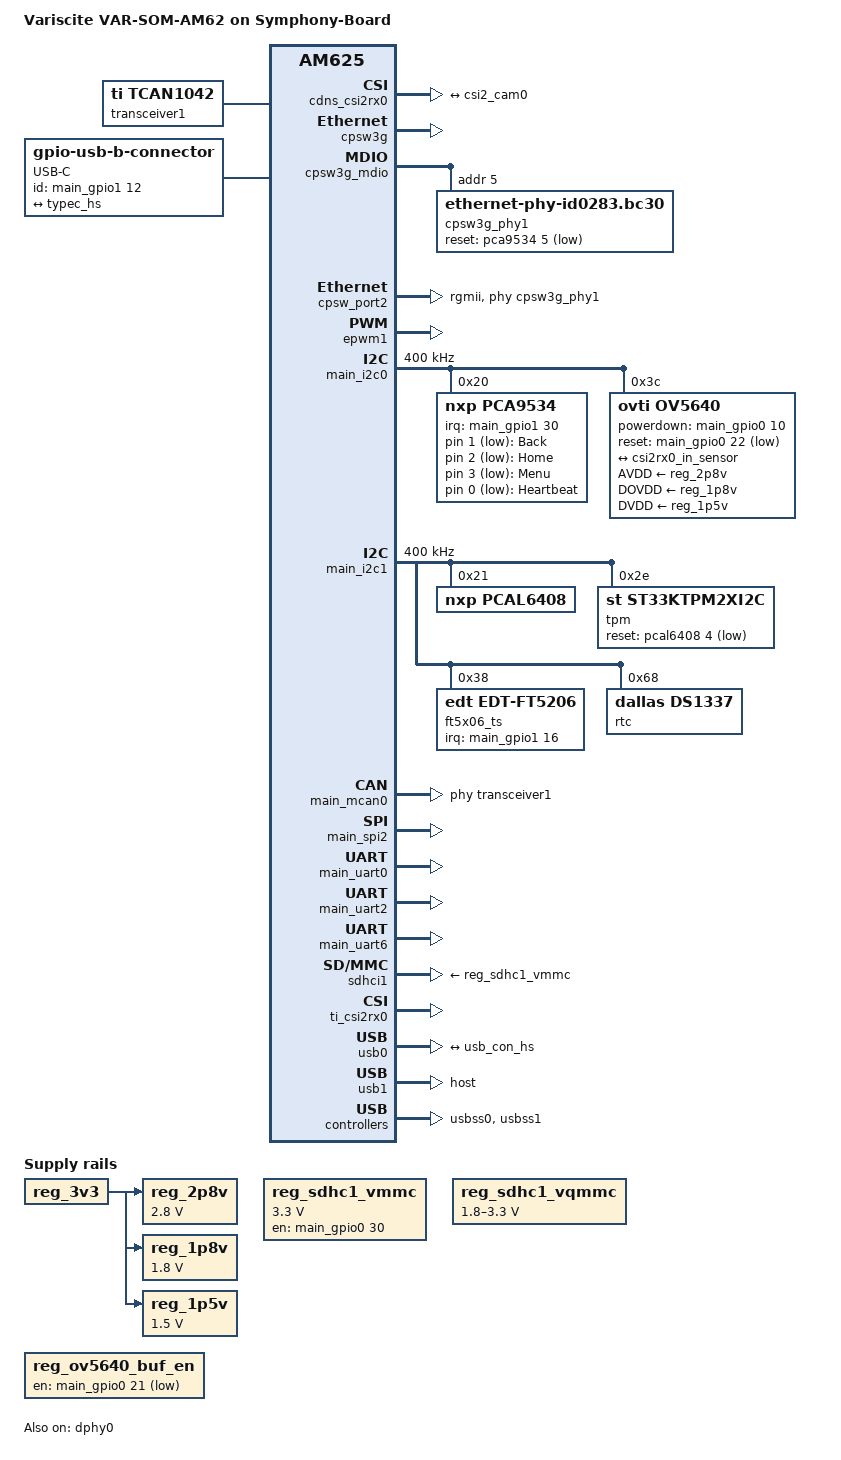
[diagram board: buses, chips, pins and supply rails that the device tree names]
// SPDX-License-Identifier: GPL-2.0
/*
 * Variscite Symphony carrier board for VAR-SOM-AM62
 *
 * Link: https://www.variscite.it/product/single-board-computers/symphony-board/
 *
 * Copyright (C) 2026 Variscite Ltd. - https://www.variscite.com/
 * Copyright (C) 2026 Stefano Radaelli <stefano.r@variscite.com>
 *
 */

/dts-v1/;

#include "k3-am625-var-som.dtsi"

/ {
	model = "Variscite VAR-SOM-AM62 on Symphony-Board";
	compatible = "variscite,var-som-am62-symphony", "variscite,var-som-am62", "ti,am625";

	aliases {
		ethernet0 = &cpsw_port1;
		ethernet1 = &cpsw_port2;
		mmc0 = &sdhci0;
		mmc1 = &sdhci1;
		mmc2 = &sdhci2;
		serial0 = &main_uart0;
		serial2 = &main_uart2;
		serial5 = &main_uart5;
		serial6 = &main_uart6;
		spi5 = &main_spi2;
		usb0 = &usb0;
		usb1 = &usb1;
	};

	chosen {
		stdout-path = "serial0:115200n8";
	};

	clk_ov5640_fixed: clock-24000000 {
		#clock-cells = <0>;
		compatible = "fixed-clock";
		clock-frequency = <24000000>;
	};

	gpio-keys {
		compatible = "gpio-keys";

		button-back {
			label = "Back";
			linux,code = <KEY_BACK>;
			gpios = <&pca9534 1 GPIO_ACTIVE_LOW>;
		};

		button-home {
			label = "Home";
			linux,code = <KEY_HOME>;
			gpios = <&pca9534 2 GPIO_ACTIVE_LOW>;
		};

		button-menu {
			label = "Menu";
			linux,code = <KEY_MENU>;
			gpios = <&pca9534 3 GPIO_ACTIVE_LOW>;
		};
	};

	gpio-leds {
		compatible = "gpio-leds";

		led-heartbeat {
			label = "Heartbeat";
			linux,default-trigger = "heartbeat";
			gpios = <&pca9534 0 GPIO_ACTIVE_LOW>;
		};
	};

	reg_2p8v: regulator-2p8v {
		compatible = "regulator-fixed";
		regulator-name = "2P8V";
		regulator-min-microvolt = <2800000>;
		regulator-max-microvolt = <2800000>;
		vin-supply = <&reg_3v3>;
		regulator-always-on;
	};

	reg_1p8v: regulator-1p8v {
		compatible = "regulator-fixed";
		regulator-name = "1P8V";
		regulator-min-microvolt = <1800000>;
		regulator-max-microvolt = <1800000>;
		vin-supply = <&reg_3v3>;
		regulator-always-on;
	};

	reg_1p5v: regulator-1p5v {
		compatible = "regulator-fixed";
		regulator-name = "1P5V";
		regulator-min-microvolt = <1500000>;
		regulator-max-microvolt = <1500000>;
		vin-supply = <&reg_3v3>;
		regulator-always-on;
	};

	reg_sdhc1_vmmc: regulator-sdhc1 {
		compatible = "regulator-fixed";
		regulator-name = "+V3.3_SD";
		pinctrl-names = "default";
		pinctrl-0 = <&pinctrl_sd1_vmmc>;
		regulator-min-microvolt = <3300000>;
		regulator-max-microvolt = <3300000>;
		regulator-boot-on;
		enable-active-high;
		gpios = <&main_gpio0 30 GPIO_ACTIVE_HIGH>;
		bootph-all;
	};

	reg_sdhc1_vqmmc: regulator-sdhci1-vqmmc {
		compatible = "regulator-gpio";
		regulator-name = "+V3.3_SD_VQMMC";
		pinctrl-names = "default";
		pinctrl-0 = <&pinctrl_sd1_vqmmc>;
		regulator-min-microvolt = <1800000>;
		regulator-max-microvolt = <3300000>;
		regulator-boot-on;
		gpios = <&main_gpio0 56 GPIO_ACTIVE_HIGH>;
		states = <1800000 0x0>,
			 <3300000 0x1>;
		bootph-all;
	};

	reg_ov5640_buf_en: regulator-camera-buf-en {
		compatible = "regulator-fixed";
		regulator-name = "ov5640_buf_en";
		pinctrl-names = "default";
		pinctrl-0 = <&pinctrl_ov5640_buf>;
		gpios = <&main_gpio0 21 GPIO_ACTIVE_HIGH>;
		regulator-always-on;
		regulator-boot-on;
	};

	transceiver1: can-phy {
		compatible = "ti,tcan1042";
		#phy-cells = <0>;
		max-bitrate = <5000000>;
	};

	connector {
		compatible = "gpio-usb-b-connector", "usb-b-connector";
		pinctrl-names = "default";
		pinctrl-0 = <&pinctrl_extcon>;
		label = "USB-C";
		id-gpios = <&main_gpio1 12 GPIO_ACTIVE_HIGH>;
		status = "okay";

		port {
			usb_con_hs: endpoint {
				remote-endpoint = <&typec_hs>;
			};
		};
	};
};

&cdns_csi2rx0 {
	ports {
		#address-cells = <1>;
		#size-cells = <0>;

		csi0_port0: port@0 {
			reg = <0>;
			status = "okay";

			csi2rx0_in_sensor: endpoint {
				remote-endpoint = <&csi2_cam0>;
				bus-type = <4>; /* CSI2 DPHY. */
				clock-lanes = <0>;
				data-lanes = <1 2>;
			};
		};
	};
};

&cpsw3g {
	pinctrl-names = "default";
	pinctrl-0 = <&pinctrl_rgmii1>,
		    <&pinctrl_rgmii2>;
	status = "okay";

	cpts@3d000 {
		/* MAP HW3_TS_PUSH to GENF1 */
		ti,pps = <2 1>;
	};
};

&cpsw3g_mdio {
	pinctrl-names = "default";
	pinctrl-0 = <&pinctrl_mdio1>;
	status = "okay";

	cpsw3g_phy1: ethernet-phy@5 {
		compatible = "ethernet-phy-id0283.bc30";
		reg = <5>;
		reset-gpios = <&pca9534 5 GPIO_ACTIVE_LOW>;
		reset-assert-us = <10000>;
		reset-deassert-us = <100000>;
	};
};

&cpsw_port2 {
	/*
	 * The required RGMII TX and RX 2ns delays are implemented directly
	 * in hardware via passive delay elements on the Symphony PCB.
	 * No delay configuration is needed in software via PHY driver.
	 */
	phy-mode = "rgmii";
	phy-handle = <&cpsw3g_phy1>;
	status = "okay";
};

&dphy0 {
	status = "okay";
};

&epwm1 {
	status = "okay";
	pinctrl-names = "default";
	pinctrl-0 = <&pinctrl_epwm1>;
};

&main_i2c0 {
	pinctrl-names = "default";
	pinctrl-0 = <&pinctrl_i2c0>;
	clock-frequency = <400000>;
	status = "okay";

	/* GPIO expander */
	pca9534: gpio@20 {
		compatible = "nxp,pca9534";
		reg = <0x20>;
		pinctrl-names = "default";
		pinctrl-0 = <&pinctrl_pca9534>;
		#gpio-cells = <2>;
		gpio-controller;
		interrupt-controller;
		#interrupt-cells = <2>;
		interrupt-parent = <&main_gpio1>;
		interrupts = <30 IRQ_TYPE_LEVEL_LOW>;

		usb3-sel-hog {
			gpio-hog;
			gpios = <4 0>;
			output-low;
			line-name = "usb3_sel";
		};

		eth-som-vselect-hog {
			gpio-hog;
			gpios = <6 0>;
			output-low;
			line-name = "eth-vselect";
		};

		eth-mdio-enable-hog {
			gpio-hog;
			gpios = <7 0>;
			output-high;
			line-name = "eth-mdio-enable";
		};
	};

	ov5640: camera@3c {
		compatible = "ovti,ov5640";
		reg = <0x3c>;
		clocks = <&clk_ov5640_fixed>;
		clock-names = "xclk";
		AVDD-supply = <&reg_2p8v>;
		DOVDD-supply = <&reg_1p8v>;
		DVDD-supply = <&reg_1p5v>;
		powerdown-gpios = <&main_gpio0 10 GPIO_ACTIVE_HIGH>;
		reset-gpios = <&main_gpio0 22 GPIO_ACTIVE_LOW>;
		pinctrl-names = "default";
		pinctrl-0 = <&pinctrl_ov5640>;

		port {
			csi2_cam0: endpoint {
				remote-endpoint = <&csi2rx0_in_sensor>;
				clock-lanes = <0>;
				data-lanes = <1 2>;
			};
		};
	};
};

&main_i2c1 {
	pinctrl-names = "default";
	pinctrl-0 = <&pinctrl_i2c1>;
	clock-frequency = <400000>;
	status = "okay";

	pcal6408: gpio@21 {
		compatible = "nxp,pcal6408";
		reg = <0x21>;
		gpio-controller;
		#gpio-cells = <2>;

		/* RGB_SEL */
		lvds-brg-enable-hog {
			gpio-hog;
			gpios = <7 GPIO_ACTIVE_HIGH>;
			output-low;
			line-name = "lvds_brg_en";
		};
	};

	st33ktpm2xi2c: tpm@2e {
		compatible = "st,st33ktpm2xi2c", "tcg,tpm-tis-i2c";
		label = "tpm";
		reg = <0x2e>;
		reset-gpios = <&pcal6408 4 GPIO_ACTIVE_LOW>;
	};

	/* Capacitive touch controller */
	ft5x06_ts: touchscreen@38 {
		compatible = "edt,edt-ft5206";
		reg = <0x38>;
		pinctrl-names = "default";
		pinctrl-0 = <&pinctrl_captouch_pins>;
		interrupt-parent = <&main_gpio1>;
		interrupts = <16 IRQ_TYPE_EDGE_FALLING>;
		touchscreen-size-x = <800>;
		touchscreen-size-y = <480>;
		touchscreen-inverted-x;
		touchscreen-inverted-y;
		wakeup-source;
	};

	rtc@68 {
		compatible = "dallas,ds1337";
		reg = <0x68>;
	};
};

&main_mcan0 {
	pinctrl-names = "default";
	pinctrl-0 = <&pinctrl_mcan0>;
	phys = <&transceiver1>;
	status = "okay";
};

&main_pmx0 {
	pinctrl_captouch_pins: main-captouch-default-pins {
		pinctrl-single,pins = <
			AM62X_IOPAD(0x01b8, PIN_INPUT, 7) /* (C13) SPI0_CS1.GPIO1_16 */
		>;
	};

	pinctrl_epwm1: main-epwm1-default-pins {
		pinctrl-single,pins = <
			AM62X_IOPAD(0x019c, PIN_OUTPUT, 6) /* (B18) MCASP0_AXR1.EHRPWM1_A */
		>;
	};

	pinctrl_extcon: main-extcon-default-pins {
		pinctrl-single,pins = <
			AM62X_IOPAD(0x01a8, PIN_INPUT, 7) /* (D20) MCASP0_AFSX.GPIO1_12 */
		>;
	};

	pinctrl_i2c0: main-i2c0-default-pins {
		pinctrl-single,pins = <
			AM62X_IOPAD(0x1e0, PIN_INPUT_PULLUP, 0) /* (B16) I2C0_SCL */
			AM62X_IOPAD(0x1e4, PIN_INPUT_PULLUP, 0) /* (A16) I2C0_SDA */
		>;
	};

	pinctrl_i2c1: main-i2c1-default-pins {
		bootph-all;
		pinctrl-single,pins = <
			AM62X_IOPAD(0x1e8, PIN_INPUT_PULLUP, 0) /* (B17) I2C1_SCL */
			AM62X_IOPAD(0x1ec, PIN_INPUT_PULLUP, 0) /* (A17) I2C1_SDA */
		>;
	};

	pinctrl_mcan0: main-mcan0-default-pins {
		pinctrl-single,pins = <
			AM62X_IOPAD(0x1dc, PIN_INPUT, 0) /* (E15) MCAN0_RX */
			AM62X_IOPAD(0x1d8, PIN_OUTPUT, 0) /* (C15) MCAN0_TX */
		>;
	};

	pinctrl_mmc1: main-mmc1-default-pins {
		bootph-all;
		pinctrl-single,pins = <
			AM62X_IOPAD(0x23c, PIN_INPUT, 0) /* (A21) MMC1_CMD */
			AM62X_IOPAD(0x234, PIN_INPUT, 0) /* (B22) MMC1_CLK */
			AM62X_IOPAD(0x230, PIN_INPUT, 0) /* (A22) MMC1_DAT0 */
			AM62X_IOPAD(0x22c, PIN_INPUT, 0) /* (B21) MMC1_DAT1 */
			AM62X_IOPAD(0x228, PIN_INPUT, 0) /* (C21) MMC1_DAT2 */
			AM62X_IOPAD(0x224, PIN_INPUT, 0) /* (D22) MMC1_DAT3 */
			AM62X_IOPAD(0x240, PIN_INPUT, 0) /* (D17) MMC1_SDCD */
		>;
	};

	pinctrl_ov5640: main-ov5640-default-pins {
		pinctrl-single,pins = <
			AM62X_IOPAD(0x0028, PIN_OUTPUT, 7) /* (J22) OSPI0_D7.GPIO0_10 */
			AM62X_IOPAD(0x0058, PIN_OUTPUT, 7) /* (R23) GPMC0_AD7.GPIO0_22 */
		>;
	};

	pinctrl_ov5640_buf: main-ov5640-buf-default-pins {
		pinctrl-single,pins = <
			AM62X_IOPAD(0x0054, PIN_OUTPUT, 7) /* (P21) GPMC0_AD6.GPIO0_21 */
		>;
	};

	pinctrl_pca9534: main-pca9534-default-pins {
		pinctrl-single,pins = <
			AM62X_IOPAD(0x01f0, PIN_INPUT, 7) /* (A18) EXT_REFCLK1.GPIO1_30 */
		>;
	};

	pinctrl_rgmii2: main-rgmii2-default-pins {
		bootph-all;
		pinctrl-single,pins = <
			AM62X_IOPAD(0x184, PIN_INPUT, 0) /* (AE23) RGMII2_RD0 */
			AM62X_IOPAD(0x188, PIN_INPUT, 0) /* (AB20) RGMII2_RD1 */
			AM62X_IOPAD(0x18c, PIN_INPUT, 0) /* (AC21) RGMII2_RD2 */
			AM62X_IOPAD(0x190, PIN_INPUT, 0) /* (AE22) RGMII2_RD3 */
			AM62X_IOPAD(0x180, PIN_INPUT, 0) /* (AD23) RGMII2_RXC */
			AM62X_IOPAD(0x17c, PIN_INPUT, 0) /* (AD22) RGMII2_RX_CTL */
			AM62X_IOPAD(0x16c, PIN_INPUT, 0) /* (Y18) RGMII2_TD0 */
			AM62X_IOPAD(0x170, PIN_INPUT, 0) /* (AA18) RGMII2_TD1 */
			AM62X_IOPAD(0x174, PIN_INPUT, 0) /* (AD21) RGMII2_TD2 */
			AM62X_IOPAD(0x178, PIN_INPUT, 0) /* (AC20) RGMII2_TD3 */
			AM62X_IOPAD(0x168, PIN_INPUT_PULLDOWN, 0) /* (AE21) RGMII2_TXC */
			AM62X_IOPAD(0x164, PIN_INPUT, 0) /* (AA19) RGMII2_TX_CTL */
		>;
	};

	pinctrl_sd1_vmmc: main-sd1-vmmc-default-pins {
		pinctrl-single,pins = <
			AM62X_IOPAD(0x0078, PIN_OUTPUT, 7) /* (U24) GPMC0_AD15.GPIO0_30 */
		>;
	};

	pinctrl_sd1_vqmmc: main-sd1-vqmmc-default-pins {
		pinctrl-single,pins = <
			AM62X_IOPAD(0x00e4, PIN_OUTPUT, 7) /* (AA23) VOUT0_DATA11.GPIO0_56 */
		>;
	};

	pinctrl_spi2: main-spi2-default-pins {
		pinctrl-single,pins = <
			AM62X_IOPAD(0x01b0, PIN_INPUT, 1) /* (A20) MCASP0_ACLKR.SPI2_CLK */
			AM62X_IOPAD(0x0194, PIN_OUTPUT, 1) /* (B19) MCASP0_AXR3.SPI2_D0 */
			AM62X_IOPAD(0x0198, PIN_INPUT, 1) /* (A19) MCASP0_AXR2.SPI2_D1 */
			AM62X_IOPAD(0x01ac, PIN_OUTPUT, 7) /* (E19) MCASP0_AFSR.GPIO1_13 */
		>;
	};

	pinctrl_uart0: main-uart0-default-pins {
		bootph-all;
		pinctrl-single,pins = <
			AM62X_IOPAD(0x1c8, PIN_INPUT, 0) /* (D14) UART0_RXD, change muxmode from 0 to 7 to deactivate Debug UART RXD */
			AM62X_IOPAD(0x1cc, PIN_OUTPUT, 0) /* (E14) UART0_TXD */
		>;
	};

	pinctrl_uart2: main-uart2-default-pins {
		pinctrl-single,pins = <
			AM62X_IOPAD(0x005c, PIN_INPUT_PULLUP, 2) /* (R24) GPMC0_AD8.UART2_RXD */
			AM62X_IOPAD(0x0060, PIN_OUTPUT, 2) /* (R25) GPMC0_AD9.UART2_TXD */
		>;
	};

	pinctrl_uart6: main-uart6-default-pins {
		pinctrl-single,pins = <
			AM62X_IOPAD(0x009c, PIN_INPUT, 3) /* (V25) GPMC0_WAIT1.UART6_RXD */
			AM62X_IOPAD(0x0244, PIN_OUTPUT, 1) /* (C17) MMC1_SDWP.UART6_TXD */
		>;
	};

	pinctrl_usb1: main-usb1-default-pins {
		pinctrl-single,pins = <
			AM62X_IOPAD(0x0258, PIN_OUTPUT, 0) /* (F18) USB1_DRVVBUS */
		>;
	};
};

&main_spi2 {
	pinctrl-names = "default";
	pinctrl-0 = <&pinctrl_spi2>;
	ti,pindir-d0-out-d1-in;
	cs-gpios = <&main_gpio1 13 GPIO_ACTIVE_HIGH>;
	status = "okay";
};

&main_uart0 {
	pinctrl-names = "default";
	pinctrl-0 = <&pinctrl_uart0>;
	status = "okay";
};

&main_uart2 {
	pinctrl-names = "default";
	pinctrl-0 = <&pinctrl_uart2>;
	status = "okay";
};

&main_uart6 {
	pinctrl-names = "default";
	pinctrl-0 = <&pinctrl_uart6>;
	status = "okay";
};

&sdhci1 {
	/* SD Card */
	vmmc-supply = <&reg_sdhc1_vmmc>;
	vqmmc-supply = <&reg_sdhc1_vqmmc>;
	pinctrl-names = "default";
	pinctrl-0 = <&pinctrl_mmc1>;
	disable-wp;
	bootph-all;
	status = "okay";
};

&ti_csi2rx0 {
	status = "okay";
};

&usb0 {
	usb-role-switch;
	status = "okay";

	port {
		typec_hs: endpoint {
			remote-endpoint = <&usb_con_hs>;
		};
	};
};

&usb1 {
	dr_mode = "host";
	pinctrl-names = "default";
	pinctrl-0 = <&pinctrl_usb1>;
	status = "okay";
};

&usbss0 {
	status = "okay";
};

&usbss1 {
	status = "okay";
};
